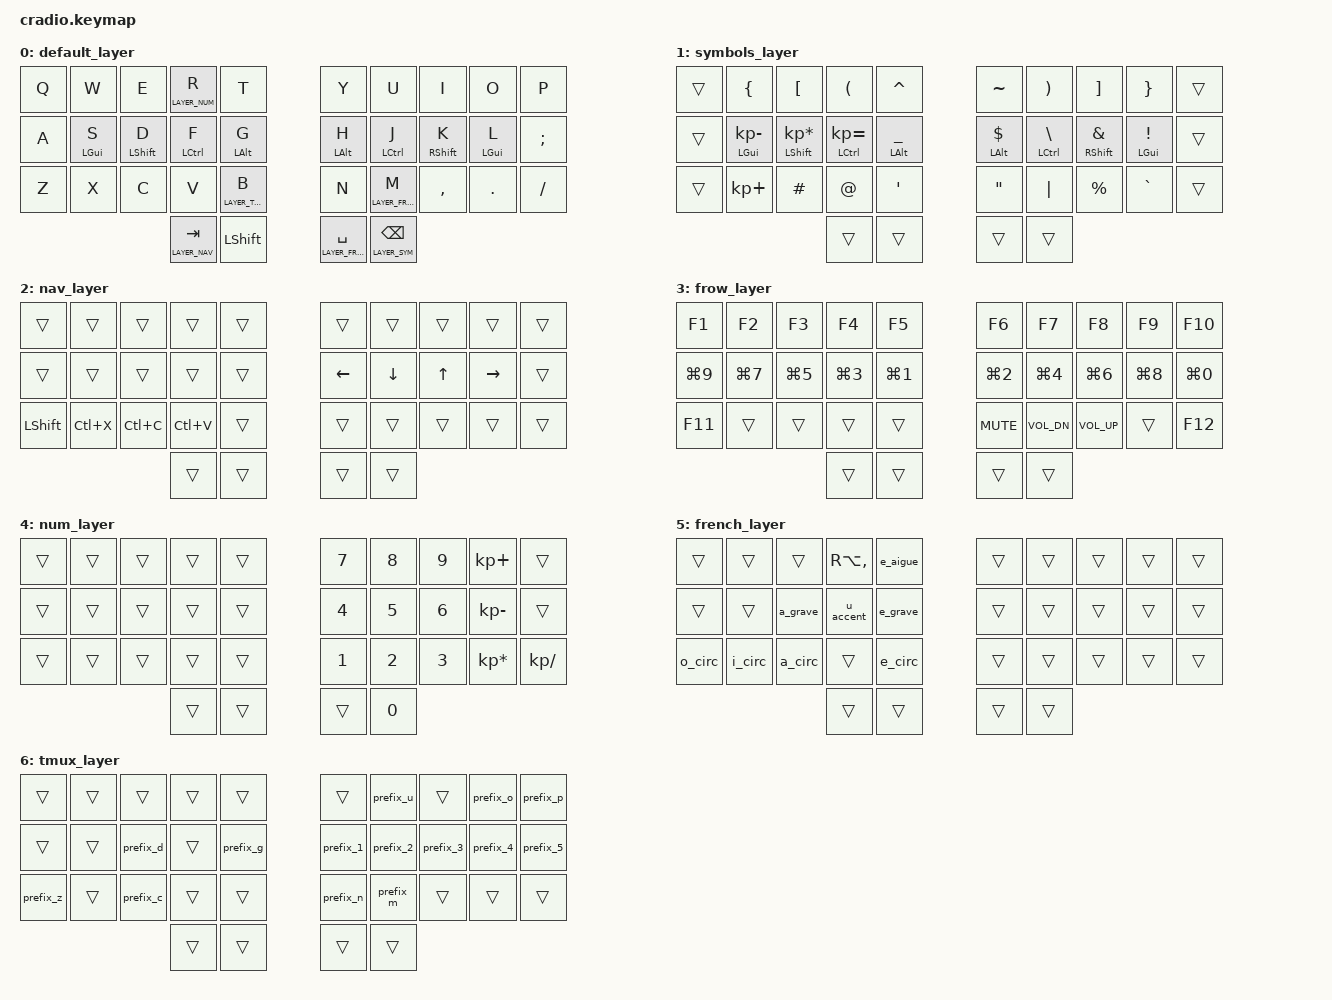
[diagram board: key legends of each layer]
// Copyright (c) 2022 The ZMK Contributors
// SPDX-License-Identifier: MIT

#include <behaviors.dtsi>
#include <dt-bindings/zmk/keys.h>
#include <dt-bindings/zmk/bt.h>

#define LAYER_DEFAULT  0
#define LAYER_SYM      1
#define LAYER_NAV      2
#define LAYER_FROW     3
#define LAYER_NUM      4
#define LAYER_FRENCH   5
#define LAYER_TMUX 6

&lt {
    quick-tap-ms = <180>;
};
#define PREFIX_MACRO(name, keycode) \
    name: name { \
        compatible = "zmk,behavior-macro"; \
        #binding-cells = <0>; \
        bindings = <&macro_tap &kp LC(SPACE) &kp keycode>; \
};
#define ACCENT_MACRO(name, accent, keycode) \
    name: name { \
        compatible = "zmk,behavior-macro"; \
        #binding-cells = <0>; \
        bindings = <&macro_tap &kp RA(accent) &kp keycode>; \
    };
/ {
    behaviors {
        ht: hold_tap {
            compatible = "zmk,behavior-hold-tap";
            #binding-cells = <2>;
            flavor = "tap-preferred";
            tapping-term-ms = <200>;
            quick-tap-ms = <180>;
            require-prior-idle-ms = <100>;
            bindings = <&kp>, <&kp>;
        };
    };
    macros {
        // FRENCH
        ACCENT_MACRO(e_aigue, SQT, E)
        ACCENT_MACRO(e_grave, GRAVE, E)
        ACCENT_MACRO(a_grave, GRAVE, A)
        ACCENT_MACRO(e_circ, N6, E)
        ACCENT_MACRO(i_circ, N6, I)
        ACCENT_MACRO(o_circ, N6, O)
        ACCENT_MACRO(a_circ, N6, A)
        ACCENT_MACRO(u_accent, GRAVE, U)
        // TMUX
        PREFIX_MACRO(prefix_0, N0)
        PREFIX_MACRO(prefix_1, N1)
        PREFIX_MACRO(prefix_2, N2)
        PREFIX_MACRO(prefix_3, N3)
        PREFIX_MACRO(prefix_4, N4)
        PREFIX_MACRO(prefix_5, N5)
        PREFIX_MACRO(prefix_u, U)
        PREFIX_MACRO(prefix_p, P)
        PREFIX_MACRO(prefix_n, N)
        PREFIX_MACRO(prefix_m, M)
        PREFIX_MACRO(prefix_c, C)
        PREFIX_MACRO(prefix_g, G)
        PREFIX_MACRO(prefix_d, D)
        PREFIX_MACRO(prefix_z, Z)
        PREFIX_MACRO(prefix_o, O)

    };
    combos {
        compatible = "zmk,combos";
        combo_esc {
            timeout-ms = <25>;
            key-positions = <22 23>;
            bindings = <&kp ESC>;
        };
        combo_enter {
            timeout-ms = <25>;
            key-positions = <5 6>;
            bindings = <&kp ENTER>;
        };
        combo_del {
            timeout-ms = <25>;
            key-positions = <26 27>;
            bindings = <&kp DEL>;
        };
        bootloader_left {
            timeout-ms = <25>;
            key-positions = <0 20>;
            bindings = <&bootloader>;
        };
        bootloader_right {
            timeout-ms = <25>;
            key-positions = <9 29>;
            bindings = <&bootloader>;
        };
    };
    keymap {
        compatible = "zmk,keymap";
        default_layer {
            bindings = <                                 
//        ┌───┬────────────┬────────────┬────────────────────┬───────────────────┐   ┌─────────────────────┬─────────────────────┬────────────┬────────────┬───┐
//        │ Q │     W      │     E      │  lt laltYER_NUM R  │         T         │   │          Y          │          U          │     I      │     O      │ P │
//        ├───┼────────────┼────────────┼────────────────────┼───────────────────┤   ├─────────────────────┼─────────────────────┼────────────┼────────────┼───┤
//        │ A │ &ht lgui S │ &ht lsft D │     &ht lctl F     │    &ht lalt G     │   │     &ht lalt H      │     &ht lctl J      │ &ht rsft K │ &ht lgui L │ ; │
//        ├───┼────────────┼────────────┼────────────────────┼───────────────────┤   ├─────────────────────┼─────────────────────┼────────────┼────────────┼───┤
//        │ Z │     X      │     C      │         V          │ lt laltYER_TMUX B │   │          N          │ lt laltYER_FRENCH M │     ,      │     .      │ / │
//        └───┴────────────┴────────────┼────────────────────┼───────────────────┤   ├─────────────────────┼─────────────────────┼────────────┴────────────┴───┘
//                                      │ lt laltYER_NAV tab │       lsft        │   │ lt laltYER_FROW spc │ lt laltYER_SYM bspc │
//                                      └────────────────────┴───────────────────┘   └─────────────────────┴─────────────────────┘
      &kp Q   &kp W        &kp E         &lt LAYER_NUM R     &kp T                  &kp Y                  &kp U                &kp I         &kp O        &kp P
      &kp A   &ht LGUI S   &ht LSHFT D   &ht LCTRL F         &ht LALT G             &ht LALT H             &ht LCTRL J          &ht RSHFT K   &ht LGUI L   &kp SEMI
      &kp Z   &kp X        &kp C         &kp V               &lt LAYER_TMUX B       &kp N                  &lt LAYER_FRENCH M   &kp COMMA     &kp DOT      &kp FSLH
                                         &lt LAYER_NAV TAB   &kp LSHFT              &lt LAYER_FROW SPACE   &lt LAYER_SYM BSPC
            >;
        };

        symbols_layer {
            bindings = <
//        ┌─────┬───────────────┬───────────────┬───────────────┬────────────┐   ┌────────────┬────────────┬────────────┬────────────┬─────┐
//        │     │       {       │       [       │       (       │     ^      │   │     ~      │     )      │     ]      │     }      │     │
//        ├─────┼───────────────┼───────────────┼───────────────┼────────────┤   ├────────────┼────────────┼────────────┼────────────┼─────┤
//        │     │ &ht lgui kp_- │ &ht lsft kp_* │ &ht lctl kp_= │ &ht lalt _ │   │ &ht lalt $ │ &ht lctl \ │ &ht rsft & │ &ht lgui ! │     │
//        ├─────┼───────────────┼───────────────┼───────────────┼────────────┤   ├────────────┼────────────┼────────────┼────────────┼─────┤
//        │     │     kp_+      │       #       │       @       │     '      │   │     "      │     |      │     %      │     `      │     │
//        └─────┴───────────────┴───────────────┼───────────────┼────────────┤   ├────────────┼────────────┼────────────┴────────────┴─────┘
//                                              │               │            │   │            │            │
//                                              └───────────────┴────────────┘   └────────────┴────────────┘
      &trans   &kp LBRC            &kp LBKT                &kp LPAR             &kp CARET                 &kp TILDE       &kp RPAR         &kp RBKT         &kp RBRC        &trans
      &trans   &ht LGUI KP_MINUS   &ht LSHFT KP_MULTIPLY   &ht LCTRL KP_EQUAL   &ht LALT UNDERSCORE       &ht LALT DLLR   &ht LCTRL BSLH   &ht RSHFT AMPS   &ht LGUI EXCL   &trans
      &trans   &kp KP_PLUS         &kp HASH                &kp AT               &kp SQT                   &kp DQT         &kp PIPE         &kp PRCNT        &kp GRAVE       &trans
                                                           &trans               &trans                    &trans          &trans
            >;
        };

        nav_layer {
            bindings = <
//        ┌──────┬─────────┬─────────┬─────────┬─────┐   ┌──────┬──────┬─────┬──────┬─────┐
//        │      │         │         │         │     │   │      │      │     │      │     │
//        ├──────┼─────────┼─────────┼─────────┼─────┤   ├──────┼──────┼─────┼──────┼─────┤
//        │      │         │         │         │     │   │ left │ down │ up  │ rght │     │
//        ├──────┼─────────┼─────────┼─────────┼─────┤   ├──────┼──────┼─────┼──────┼─────┤
//        │ lsft │ lctl(X) │ lctl(C) │ lctl(V) │     │   │      │      │     │      │     │
//        └──────┴─────────┴─────────┼─────────┼─────┤   ├──────┼──────┼─────┴──────┴─────┘
//                                   │         │     │   │      │      │
//                                   └─────────┴─────┘   └──────┴──────┘
      &trans      &trans      &trans      &trans      &trans       &trans     &trans     &trans   &trans      &trans
      &trans      &trans      &trans      &trans      &trans       &kp LEFT   &kp DOWN   &kp UP   &kp RIGHT   &trans
      &kp LSHFT   &kp LC(X)   &kp LC(C)   &kp LC(V)   &trans       &trans     &trans     &trans   &trans      &trans
                                          &trans      &trans       &trans     &trans
            >;
        };

        frow_layer {
            bindings = <
//        ┌─────────┬─────────┬─────────┬─────────┬─────────┐   ┌─────────┬─────────┬─────────┬─────────┬─────────┐
//        │   f1    │   f2    │   f3    │   f4    │   f5    │   │   f6    │   f7    │   f8    │   f9    │   f10   │
//        ├─────────┼─────────┼─────────┼─────────┼─────────┤   ├─────────┼─────────┼─────────┼─────────┼─────────┤
//        │ lgui(9) │ lgui(7) │ lgui(5) │ lgui(3) │ lgui(1) │   │ lgui(2) │ lgui(4) │ lgui(6) │ lgui(8) │ lgui(0) │
//        ├─────────┼─────────┼─────────┼─────────┼─────────┤   ├─────────┼─────────┼─────────┼─────────┼─────────┤
//        │   f11   │         │         │         │         │   │  mute   │  vold   │  volu   │         │   f12   │
//        └─────────┴─────────┴─────────┼─────────┼─────────┤   ├─────────┼─────────┼─────────┴─────────┴─────────┘
//                                      │         │         │   │         │         │
//                                      └─────────┴─────────┘   └─────────┴─────────┘
      &kp F1       &kp F2       &kp F3       &kp F4       &kp F5           &kp F6       &kp F7         &kp F8         &kp F9       &kp F10
      &kp LG(N9)   &kp LG(N7)   &kp LG(N5)   &kp LG(N3)   &kp LG(N1)       &kp LG(N2)   &kp LG(N4)     &kp LG(N6)     &kp LG(N8)   &kp LG(N0)
      &kp F11      &trans       &trans       &trans       &trans           &kp C_MUTE   &kp C_VOL_DN   &kp C_VOL_UP   &trans       &kp F12
                                             &trans       &trans           &trans       &trans
            >;
        };

        num_layer {
            bindings = <
//        ┌─────┬─────┬─────┬─────┬─────┐   ┌─────┬───┬───┬──────┬──────┐
//        │     │     │     │     │     │   │  7  │ 8 │ 9 │ kp_+ │      │
//        ├─────┼─────┼─────┼─────┼─────┤   ├─────┼───┼───┼──────┼──────┤
//        │     │     │     │     │     │   │  4  │ 5 │ 6 │ kp_- │      │
//        ├─────┼─────┼─────┼─────┼─────┤   ├─────┼───┼───┼──────┼──────┤
//        │     │     │     │     │     │   │  1  │ 2 │ 3 │ kp_* │ kp_/ │
//        └─────┴─────┴─────┼─────┼─────┤   ├─────┼───┼───┴──────┴──────┘
//                          │     │     │   │     │ 0 │
//                          └─────┴─────┘   └─────┴───┘
      &trans   &trans   &trans   &trans   &trans       &kp N7   &kp N8   &kp N9   &kp KP_PLUS       &trans
      &trans   &trans   &trans   &trans   &trans       &kp N4   &kp N5   &kp N6   &kp KP_MINUS      &trans
      &trans   &trans   &trans   &trans   &trans       &kp N1   &kp N2   &kp N3   &kp KP_MULTIPLY   &kp KP_DIVIDE
                                 &trans   &trans       &trans   &kp N0
            >;
        };

        french_layer {
            bindings = <
//        ┌─────────┬─────────┬──────────┬───────────┬──────────┐   ┌─────┬─────┬─────┬─────┬─────┐
//        │         │         │          │  ralt(,)  │ &e_aigue │   │     │     │     │     │     │
//        ├─────────┼─────────┼──────────┼───────────┼──────────┤   ├─────┼─────┼─────┼─────┼─────┤
//        │         │         │ &a_grave │ &u_accent │ &e_grave │   │     │     │     │     │     │
//        ├─────────┼─────────┼──────────┼───────────┼──────────┤   ├─────┼─────┼─────┼─────┼─────┤
//        │ &o_circ │ &i_circ │ &a_circ  │           │ &e_circ  │   │     │     │     │     │     │
//        └─────────┴─────────┴──────────┼───────────┼──────────┤   ├─────┼─────┼─────┴─────┴─────┘
//                                       │           │          │   │     │     │
//                                       └───────────┴──────────┘   └─────┴─────┘
      &trans    &trans    &trans     &kp RA(COMMA)   &e_aigue       &trans   &trans   &trans   &trans   &trans
      &trans    &trans    &a_grave   &u_accent       &e_grave       &trans   &trans   &trans   &trans   &trans
      &o_circ   &i_circ   &a_circ    &trans          &e_circ        &trans   &trans   &trans   &trans   &trans
                                     &trans          &trans         &trans   &trans
            >;
        };
        tmux_layer {
            bindings = <
//        ┌───────────┬─────┬───────────┬─────┬───────────┐   ┌───────────┬───────────┬───────────┬───────────┬───────────┐
//        │           │     │           │     │           │   │           │ &prefix_u │           │ &prefix_o │ &prefix_p │
//        ├───────────┼─────┼───────────┼─────┼───────────┤   ├───────────┼───────────┼───────────┼───────────┼───────────┤
//        │           │     │ &prefix_d │     │ &prefix_g │   │ &prefix_1 │ &prefix_2 │ &prefix_3 │ &prefix_4 │ &prefix_5 │
//        ├───────────┼─────┼───────────┼─────┼───────────┤   ├───────────┼───────────┼───────────┼───────────┼───────────┤
//        │ &prefix_z │     │ &prefix_c │     │           │   │ &prefix_n │ &prefix_m │           │           │           │
//        └───────────┴─────┴───────────┼─────┼───────────┤   ├───────────┼───────────┼───────────┴───────────┴───────────┘
//                                      │     │           │   │           │           │
//                                      └─────┴───────────┘   └───────────┴───────────┘
      &trans      &trans   &trans      &trans   &trans          &trans      &prefix_u   &trans      &prefix_o   &prefix_p
      &trans      &trans   &prefix_d   &trans   &prefix_g       &prefix_1   &prefix_2   &prefix_3   &prefix_4   &prefix_5
      &prefix_z   &trans   &prefix_c   &trans   &trans          &prefix_n   &prefix_m   &trans      &trans      &trans
                                       &trans   &trans          &trans      &trans
            >;
        };
    };
};
